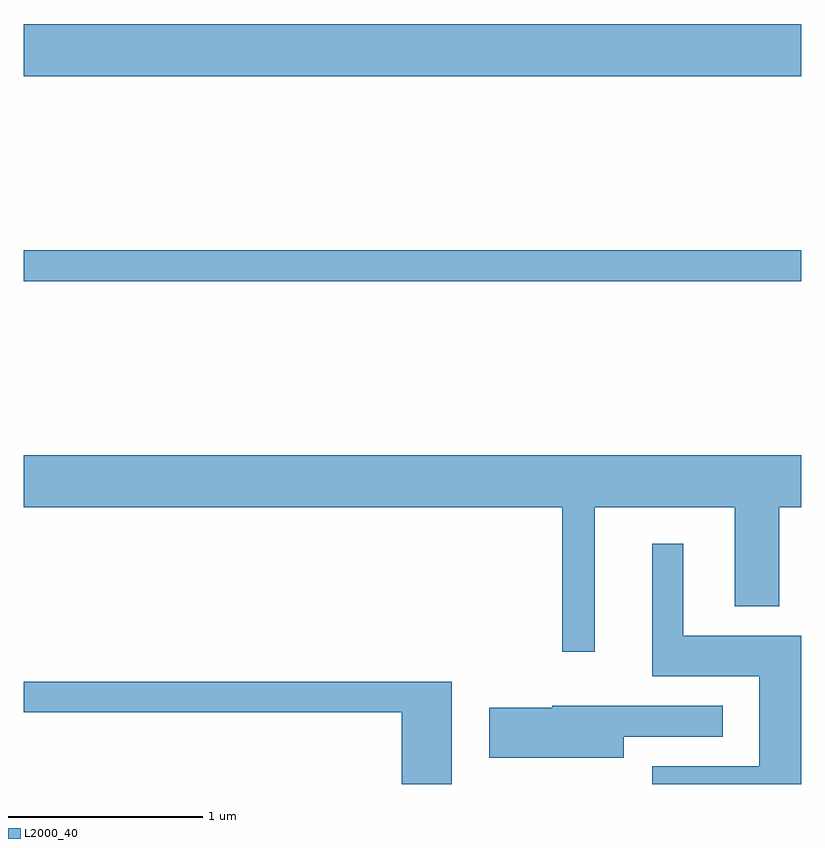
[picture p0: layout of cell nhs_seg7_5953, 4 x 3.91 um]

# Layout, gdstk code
import gdstk
lib = gdstk.Library(unit=1e-6, precision=1e-09)
def R(c, l, rs):  # rectangles x0, y0, x1, y1
    for r in rs: c.add(gdstk.rectangle(r[:2], r[2:], *l))
def P(c, l, *ps):  # polygons
    for p in ps: c.add(gdstk.Polygon(p, *l))
L2000_40 = (2000, 40)

nhs_seg7_5953 = lib.new_cell('nhs_seg7_5953')
R(nhs_seg7_5953, L2000_40, [(367.611,1688.841,371.611,1688.999), (367.611,1689.896,371.611,1690.164)])
P(nhs_seg7_5953, L2000_40, [(370.549,1687.676),(371.271,1687.676),(371.271,1687.166),(371.499,1687.166),(371.499,1687.676),(371.611,1687.676),(371.611,1687.944),(367.611,1687.944),(367.611,1687.676),(370.381,1687.676),(370.381,1686.933),(370.549,1686.933)],
  [(371.611,1687.014),(371.004,1687.014),(371.004,1687.488),(370.846,1687.488),(370.846,1686.806),(371.396,1686.806),(371.396,1686.344),(370.846,1686.344),(370.846,1686.252),(371.611,1686.252)],
  [(369.814,1686.779),(367.611,1686.779),(367.611,1686.621),(369.556,1686.621),(369.556,1686.252),(369.814,1686.252)],
  [(370.699,1686.496),(371.208,1686.496),(371.208,1686.654),(370.33,1686.654),(370.33,1686.644),(370.006,1686.644),(370.006,1686.386),(370.699,1686.386)])

lib.write_gds('nhs_seg7_5953.gds')
